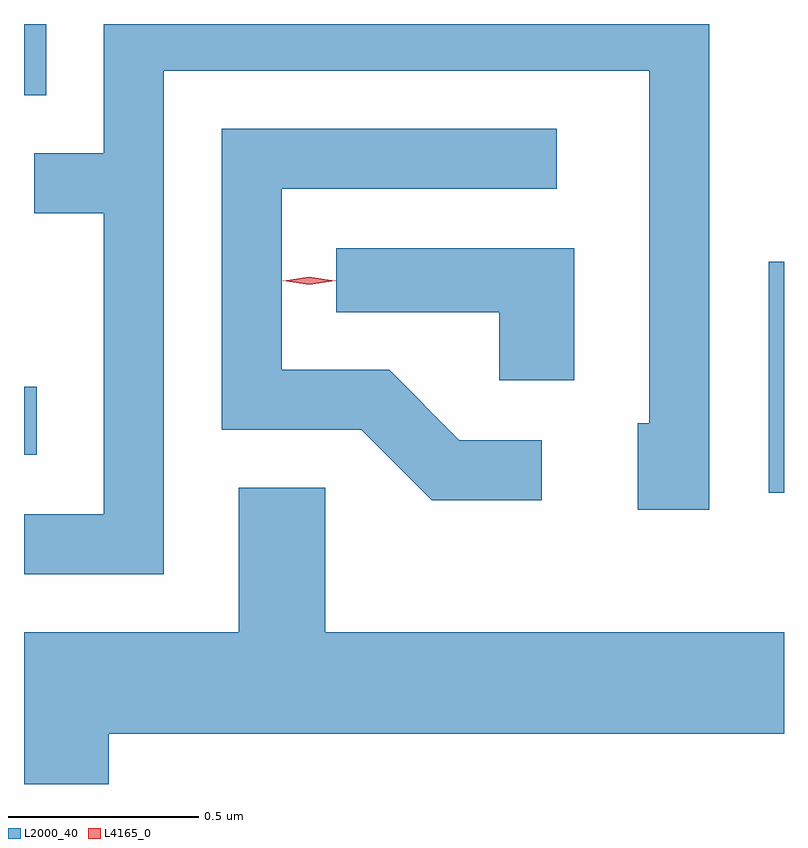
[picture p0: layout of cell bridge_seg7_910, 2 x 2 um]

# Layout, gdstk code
import gdstk
lib = gdstk.Library(unit=1e-6, precision=1e-09)
def R(c, l, rs):  # rectangles x0, y0, x1, y1
    for r in rs: c.add(gdstk.rectangle(r[:2], r[2:], *l))
def P(c, l, *ps):  # polygons
    for p in ps: c.add(gdstk.Polygon(p, *l))
L2000_40 = (2000, 40)
L4165_0 = (4165, 0)

bridge_seg7_910 = lib.new_cell('bridge_seg7_910')
R(bridge_seg7_910, L2000_40, [(282.606,1694.971,282.646,1695.578), (280.646,1695.071,280.679,1695.249), (280.646,1696.016,280.704,1696.204)])
P(bridge_seg7_910, L2000_40, [(281.014,1696.081),(282.291,1696.081),(282.291,1695.154),(282.261,1695.154),(282.261,1694.926),(282.449,1694.926),(282.449,1696.204),(280.856,1696.204),(280.856,1695.864),(280.673,1695.864),(280.673,1695.706),(280.856,1695.706),(280.856,1694.914),(280.646,1694.914),(280.646,1694.756),(281.014,1694.756)],
  [(282.008,1695.109),(281.792,1695.109),(281.607,1695.294),(281.324,1695.294),(281.324,1695.771),(282.048,1695.771),(282.048,1695.929),(281.166,1695.929),(281.166,1695.136),(281.534,1695.136),(281.719,1694.951),(282.008,1694.951)],
  [(282.094,1695.614),(281.468,1695.614),(281.468,1695.446),(281.896,1695.446),(281.896,1695.266),(282.094,1695.266)],
  [(280.869,1694.336),(282.646,1694.336),(282.646,1694.604),(281.439,1694.604),(281.439,1694.984),(281.211,1694.984),(281.211,1694.604),(280.646,1694.604),(280.646,1694.204),(280.869,1694.204)])
P(bridge_seg7_910, L4165_0, [(281.396,1695.519),(281.33,1695.528),(281.329,1695.529),(281.33,1695.529),(281.396,1695.539),(281.462,1695.529),(281.463,1695.529),(281.462,1695.528)],
  [(281.396,1695.518),(281.327,1695.528),(281.327,1695.528),(281.327,1695.529),(281.396,1695.538),(281.466,1695.529),(281.466,1695.528),(281.466,1695.528)])

lib.write_gds('bridge_seg7_910.gds')
